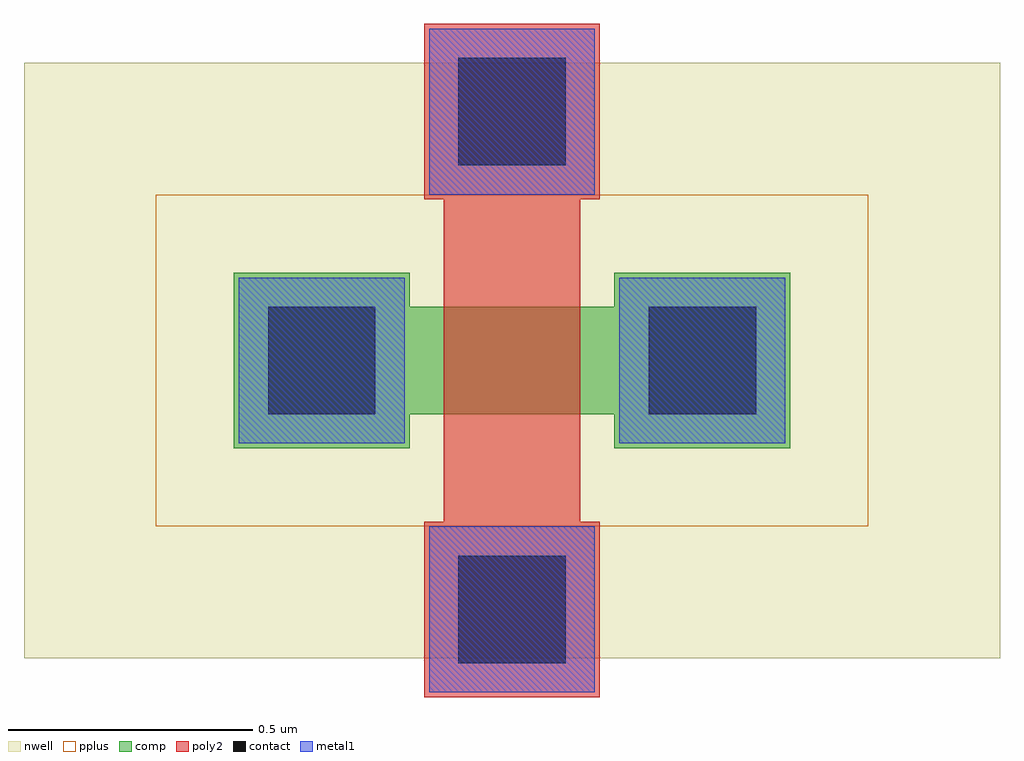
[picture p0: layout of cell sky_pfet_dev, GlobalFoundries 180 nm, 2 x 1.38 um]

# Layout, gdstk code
import gdstk
lib = gdstk.Library(unit=1e-6, precision=1e-09)
def R(c, l, rs):  # rectangles x0, y0, x1, y1
    for r in rs: c.add(gdstk.rectangle(r[:2], r[2:], *l))
nwell = (21, 0)
comp = (22, 0)
poly2 = (30, 0)
pplus = (31, 0)
contact = (33, 0)
metal1 = (34, 0)

labels_gen_42a1036b = lib.new_cell('labels_gen_42a1036b')

labels_gen_fd99b9fa = lib.new_cell('labels_gen_fd99b9fa')

labels_gen_08db79f3 = lib.new_cell('labels_gen_08db79f3')

compass_2c25c1b3 = lib.new_cell('compass_2c25c1b3')
R(compass_2c25c1b3, comp, [(-0.21,-0.11,0.21,0.11)])

rectangle_2c25c1b3 = lib.new_cell('rectangle_2c25c1b3')
rectangle_2c25c1b3.add(gdstk.Reference(compass_2c25c1b3, (0.21,0.11)))

compass_0fcdc6bf = lib.new_cell('compass_0fcdc6bf')
R(compass_0fcdc6bf, comp, [(-0.18,-0.18,0.18,0.18)])

rectangle_0fcdc6bf = lib.new_cell('rectangle_0fcdc6bf')
rectangle_0fcdc6bf.add(gdstk.Reference(compass_0fcdc6bf, (0.18,0.18)))

compass_f38dc993 = lib.new_cell('compass_f38dc993')
R(compass_f38dc993, contact, [(-0.11,-0.11,0.11,0.11)])

rectangle_f38dc993 = lib.new_cell('rectangle_f38dc993')
rectangle_f38dc993.add(gdstk.Reference(compass_f38dc993, (0.11,0.11)))

via_generator_085ba817 = lib.new_cell('via_generator_085ba817')
r = gdstk.Reference(rectangle_f38dc993, (-0.29,0)); r.repetition = gdstk.Repetition(1, 1, v1=(0.5,0), v2=(0,0.5)); via_generator_085ba817.add(r)

compass_02b66c81 = lib.new_cell('compass_02b66c81')
R(compass_02b66c81, metal1, [(-0.17,-0.17,0.17,0.17)])

rectangle_02b66c81 = lib.new_cell('rectangle_02b66c81')
rectangle_02b66c81.add(gdstk.Reference(compass_02b66c81, (0.17,0.17)))

via_stack_361a62b4 = lib.new_cell('via_stack_361a62b4')
via_stack_361a62b4.add(gdstk.Reference(via_generator_085ba817, (0,0)))
via_stack_361a62b4.add(gdstk.Reference(rectangle_02b66c81, (-0.35,-0.06)))

compass_497bce43 = lib.new_cell('compass_497bce43')
R(compass_497bce43, poly2, [(-0.14,-0.33,0.14,0.33)])

rectangle_497bce43 = lib.new_cell('rectangle_497bce43')
rectangle_497bce43.add(gdstk.Reference(compass_497bce43, (0.14,0.33)))

compass_f145255d = lib.new_cell('compass_f145255d')
R(compass_f145255d, poly2, [(-0.18,-0.18,0.18,0.18)])

rectangle_f145255d = lib.new_cell('rectangle_f145255d')
rectangle_f145255d.add(gdstk.Reference(compass_f145255d, (0.18,0.18)))

via_generator_01feaf1a = lib.new_cell('via_generator_01feaf1a')
r = gdstk.Reference(rectangle_f38dc993, (0.07,0.07)); r.repetition = gdstk.Repetition(1, 1, v1=(0.5,0), v2=(0,0.5)); via_generator_01feaf1a.add(r)

via_stack_6a2e7997 = lib.new_cell('via_stack_6a2e7997')
via_stack_6a2e7997.add(gdstk.Reference(via_generator_01feaf1a, (0,0)))
via_stack_6a2e7997.add(gdstk.Reference(rectangle_02b66c81, (0.01,0.01)))

poly_con = lib.new_cell('poly con')
poly_con.add(gdstk.Reference(rectangle_f145255d, (0,0)))
poly_con.add(gdstk.Reference(via_stack_6a2e7997, (0,0)))

compass_f143cdbe = lib.new_cell('compass_f143cdbe')
R(compass_f143cdbe, pplus, [(-0.73,-0.34,0.73,0.34)])

rectangle_f143cdbe = lib.new_cell('rectangle_f143cdbe')
rectangle_f143cdbe.add(gdstk.Reference(compass_f143cdbe, (0.73,0.34)))

dev_temp = lib.new_cell('dev_temp')
dev_temp.add(gdstk.Reference(rectangle_2c25c1b3, (0,0)))
r = gdstk.Reference(rectangle_0fcdc6bf, (-0.36,-0.07)); r.repetition = gdstk.Repetition(2, 1, v1=(0.78,0), v2=(0,1)); dev_temp.add(r)
r = gdstk.Reference(via_stack_361a62b4, (0,0)); r.repetition = gdstk.Repetition(2, 1, v1=(0.78,0), v2=(0,1)); dev_temp.add(r)
dev_temp.add(gdstk.Reference(rectangle_497bce43, (0.07,-0.22)))
r = gdstk.Reference(poly_con, (0.03,-0.58)); r.repetition = gdstk.Repetition(1, 2, v1=(1,0), v2=(0,1.02)); dev_temp.add(r)
dev_temp.add(gdstk.Reference(rectangle_f143cdbe, (-0.52,-0.23)))

compass_4c4aabce = lib.new_cell('compass_4c4aabce')
R(compass_4c4aabce, nwell, [(-1,-0.61,1,0.61)])

rectangle_4c4aabce = lib.new_cell('rectangle_4c4aabce')
rectangle_4c4aabce.add(gdstk.Reference(compass_4c4aabce, (1,0.61)))

pfet_deep_nwell_79403ae0 = lib.new_cell('pfet_deep_nwell_79403ae0')
pfet_deep_nwell_79403ae0.add(gdstk.Reference(rectangle_4c4aabce, (-0.79,-0.5)))

sky_pfet_dev = lib.new_cell('sky_pfet_dev')
sky_pfet_dev.add(gdstk.Reference(labels_gen_42a1036b, (0,0)))
sky_pfet_dev.add(gdstk.Reference(labels_gen_fd99b9fa, (0,0)))
sky_pfet_dev.add(gdstk.Reference(labels_gen_08db79f3, (0,0)))
sky_pfet_dev.add(gdstk.Reference(dev_temp, (0,0)))
sky_pfet_dev.add(gdstk.Reference(pfet_deep_nwell_79403ae0, (0,0)))

lib.write_gds('sky_pfet_dev.gds')
